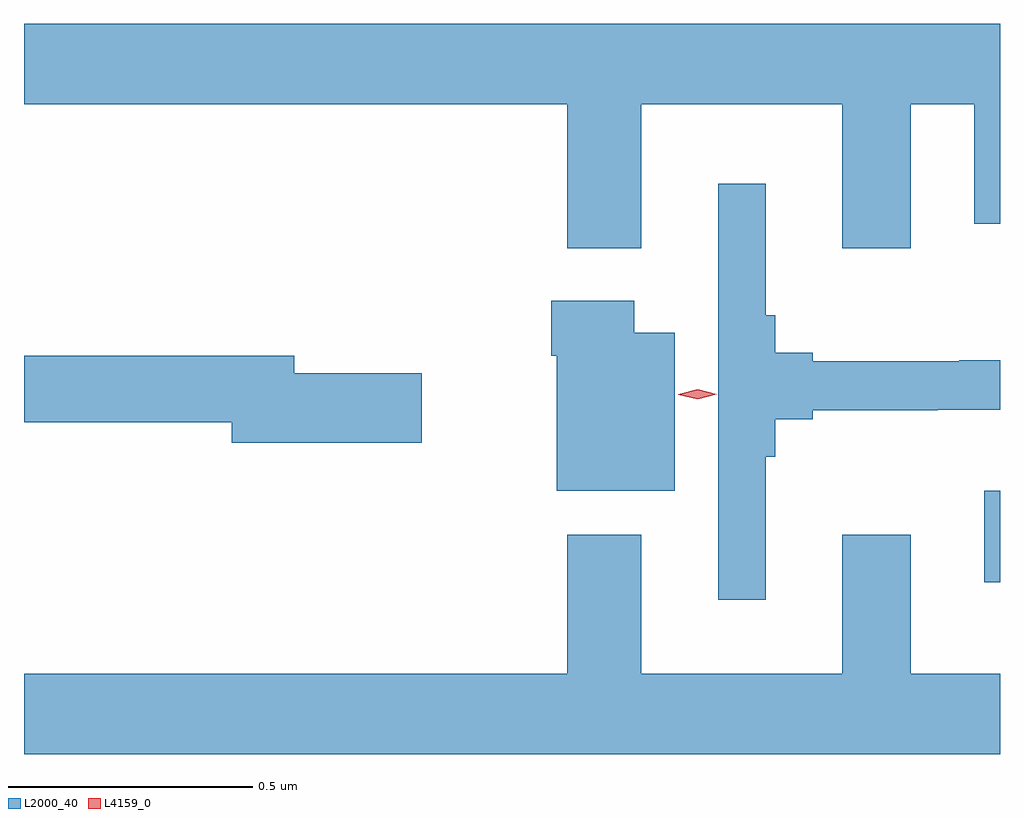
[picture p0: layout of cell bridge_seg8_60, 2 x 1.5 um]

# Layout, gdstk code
import gdstk
lib = gdstk.Library(unit=1e-6, precision=1e-09)
def R(c, l, rs):  # rectangles x0, y0, x1, y1
    for r in rs: c.add(gdstk.rectangle(r[:2], r[2:], *l))
def P(c, l, *ps):  # polygons
    for p in ps: c.add(gdstk.Polygon(p, *l))
L2000_40 = (2000, 40)
L4159_0 = (4159, 0)

bridge_seg8_60 = lib.new_cell('bridge_seg8_60')
R(bridge_seg8_60, L2000_40, [(1099.286,1118.184,1099.318,1118.371)])
P(bridge_seg8_60, L2000_40, [(1098.583,1119.164),(1098.995,1119.164),(1098.995,1118.868),(1099.135,1118.868),(1099.135,1119.164),(1099.265,1119.164),(1099.265,1118.919),(1099.318,1118.919),(1099.318,1119.328),(1097.318,1119.328),(1097.318,1119.164),(1098.431,1119.164),(1098.431,1118.868),(1098.583,1118.868)],
  [(1098.838,1118.441),(1098.857,1118.441),(1098.857,1118.518),(1098.934,1118.518),(1098.934,1118.536),(1099.19,1118.536),(1099.19,1118.537),(1099.318,1118.537),(1099.318,1118.639),(1099.234,1118.639),(1099.234,1118.637),(1098.934,1118.637),(1098.934,1118.654),(1098.857,1118.654),(1098.857,1118.731),(1098.838,1118.731),(1098.838,1119.001),(1098.741,1119.001),(1098.741,1118.148),(1098.838,1118.148)],
  [(1098.652,1118.695),(1098.568,1118.695),(1098.568,1118.761),(1098.398,1118.761),(1098.398,1118.648),(1098.41,1118.648),(1098.41,1118.372),(1098.652,1118.372)],
  [(1098.133,1118.612),(1097.872,1118.612),(1097.872,1118.648),(1097.318,1118.648),(1097.318,1118.512),(1097.744,1118.512),(1097.744,1118.47),(1098.133,1118.47)],
  [(1099.318,1117.996),(1099.135,1117.996),(1099.135,1118.281),(1098.995,1118.281),(1098.995,1117.996),(1098.583,1117.996),(1098.583,1118.281),(1098.431,1118.281),(1098.431,1117.996),(1097.318,1117.996),(1097.318,1117.832),(1099.318,1117.832)])
P(bridge_seg8_60, L4159_0, [(1098.699,1118.559),(1098.659,1118.568),(1098.659,1118.569),(1098.659,1118.569),(1098.699,1118.579),(1098.738,1118.569),(1098.738,1118.569),(1098.738,1118.569)])

lib.write_gds('bridge_seg8_60.gds')
